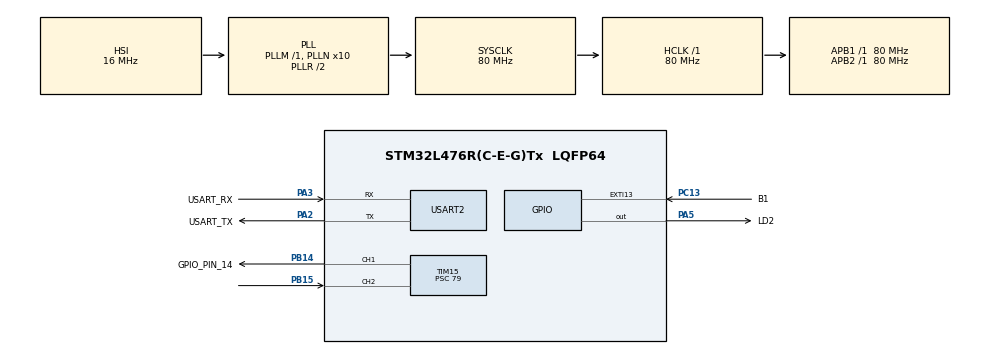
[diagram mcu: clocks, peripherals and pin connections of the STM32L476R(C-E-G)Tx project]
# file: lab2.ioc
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Mcu.Family=STM32L4
Mcu.Name=STM32L476R(C-E-G)Tx
Mcu.Package=LQFP64
NVIC.EXTI15_10_IRQn=true\:0\:0\:false\:false\:true\:true\:true\:true
NVIC.PriorityGroup=NVIC_PRIORITYGROUP_4
NVIC.TIM1_BRK_TIM15_IRQn=true\:0\:0\:false\:false\:true\:true\:true\:true
NVIC.TIM2_IRQn=true\:0\:0\:false\:false\:true\:true\:true\:true
NVIC.TIM5_IRQn=true\:0\:0\:false\:false\:true\:true\:true\:true
NVIC.TIM6_DAC_IRQn=true\:0\:0\:false\:false\:true\:true\:true\:true
NVIC.TIM7_IRQn=true\:0\:0\:false\:false\:true\:true\:true\:true
PA13\ (JTMS-SWDIO).GPIO_Label=TMS
PA13\ (JTMS-SWDIO).Mode=Serial_Wire
PA13\ (JTMS-SWDIO).Signal=SYS_JTMS-SWDIO
PA14\ (JTCK-SWCLK).GPIO_Label=TCK
PA14\ (JTCK-SWCLK).Mode=Serial_Wire
PA14\ (JTCK-SWCLK).Signal=SYS_JTCK-SWCLK
PA2.GPIO_Label=USART_TX
PA2.GPIO_Mode=GPIO_MODE_AF_PP
PA2.GPIO_PuPd=GPIO_NOPULL
PA2.GPIO_Speed=GPIO_SPEED_FREQ_VERY_HIGH
PA2.Mode=Asynchronous
PA2.Signal=USART2_TX
PA3.GPIO_Label=USART_RX
PA3.GPIO_Mode=GPIO_MODE_AF_PP
PA3.GPIO_PuPd=GPIO_NOPULL
PA3.GPIO_Speed=GPIO_SPEED_FREQ_VERY_HIGH
PA3.Mode=Asynchronous
PA3.Signal=USART2_RX
PA5.GPIO_Label=LD2
PA5.Signal=GPIO_Output
PB14.GPIO_Label=GPIO_PIN_14
PB14.Signal=S_TIM15_CH1
PB15.Signal=S_TIM15_CH2
PB3\ (JTDO-TRACESWO).GPIO_Label=SWO
PB3\ (JTDO-TRACESWO).Signal=SYS_JTDO-SWO
PC13.GPIO_Label=B1
PC13.GPIO_ModeDefaultEXTI=GPIO_MODE_IT_FALLING
PC13.GPIO_PuPd=GPIO_NOPULL
PC13.Signal=GPXTI13
PC14-OSC32_IN\ (PC14).Mode=LSE-External-Oscillator
PC14-OSC32_IN\ (PC14).Signal=RCC_OSC32_IN
PC15-OSC32_OUT\ (PC15).Mode=LSE-External-Oscillator
PC15-OSC32_OUT\ (PC15).Signal=RCC_OSC32_OUT
PH0-OSC_IN\ (PH0).Signal=RCC_OSC_IN
PH1-OSC_OUT\ (PH1).Signal=RCC_OSC_OUT
ProjectManager.HeapSize=0x200
ProjectManager.StackSize=0x400
ProjectManager.TargetToolchain=STM32CubeIDE
RCC.ADCFreq_Value=64000000
RCC.AHBFreq_Value=80000000
RCC.APB1Freq_Value=80000000
RCC.APB1TimFreq_Value=80000000
RCC.APB2Freq_Value=80000000
RCC.APB2TimFreq_Value=80000000
RCC.CortexFreq_Value=80000000
RCC.HCLKFreq_Value=80000000
RCC.HSE_VALUE=8000000
RCC.HSI_VALUE=16000000
RCC.MSI_VALUE=4000000
RCC.PLLN=10
RCC.PLLSourceVirtual=RCC_PLLSOURCE_HSI
RCC.PREFETCH_ENABLE=1
RCC.SYSCLKFreq_VALUE=80000000
RCC.SYSCLKSource=RCC_SYSCLKSOURCE_PLLCLK
RCC.USBFreq_Value=64000000
RCC.VCOOutputFreq_Value=160000000
SH.S_TIM15_CH1.0=TIM15_CH1,Output Compare1 CH1
SH.S_TIM15_CH2.0=TIM15_CH2,TriggerSource_TI2FP2
TIM15.Channel-Output\ Compare1\ CH1=TIM_CHANNEL_1
TIM15.Period=332
TIM15.Prescaler=79
TIM15.Pulse-Output\ Compare1\ CH1=0
TIM15.RepetitionCounter=59
TIM2.AutoReloadPreload=TIM_AUTORELOAD_PRELOAD_DISABLE
TIM2.Period=999
TIM2.Prescaler=79
TIM5.Prescaler=79
TIM6.AutoReloadPreload=TIM_AUTORELOAD_PRELOAD_DISABLE
TIM6.Period=799
TIM6.Prescaler=7999
TIM7.AutoReloadPreload=TIM_AUTORELOAD_PRELOAD_DISABLE
TIM7.Period=4999
TIM7.Prescaler=79
USART2.VirtualMode-Asynchronous=VM_ASYNC
VP_TIM15_VS_ControllerModeTrigger.Mode=Trigger Mode
VP_TIM15_VS_OPM.Mode=OPM_bit
VP_TIM2_VS_ClockSourceINT.Mode=Internal
VP_TIM5_VS_ClockSourceINT.Mode=Internal
VP_TIM6_VS_ClockSourceINT.Mode=Enable_Timer
VP_TIM7_VS_ClockSourceINT.Mode=Enable_Timer
board=NUCLEO-L476RG

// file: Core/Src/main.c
/* USER CODE BEGIN Header */
/**
  ******************************************************************************
  * @file : main.c
  * @brief : Main program body
  ******************************************************************************
  * @attention
  *
  * Copyright (c) 2025 STMicroelectronics.
  * All rights reserved.
  *
  * This software is licensed under terms that can be found in the LICENSE file
  * in the root directory of this software component.
  * If no LICENSE file comes with this software, it is provided AS-IS.
  *
  ******************************************************************************
  */
/* USER CODE END Header */
#include "main.h"
#include <math.h> // Required for the cos() function
#include <stdbool.h> // Required for the bool type

/* USER CODE BEGIN Includes */
#define M_PI 3.14159265358979323846

/* USER CODE END Includes */

/* USER CODE BEGIN PTD */

/* USER CODE BEGIN PM */
uint32_t previousT = 0; // last time of button press from TIM5
float BPM = 60.0f; // beats per minute, initialized to 60 BPM
float STEP = 2 * M_PI / 128.0f; // breathing function phase accumulator step
float phase = 0.0f; // current breathing function phase
bool blip = false; //flag for LED blip
int blipCount = 0; //counter for LED blip

/* USER CODE END PM */

/* USER CODE END PTD */

TIM_HandleTypeDef htim2;
TIM_HandleTypeDef htim5;
TIM_HandleTypeDef htim6;
TIM_HandleTypeDef htim7;
TIM_HandleTypeDef htim15;
UART_HandleTypeDef huart2;

void SystemClock_Config(void);
static void MX_GPIO_Init(void);
static void MX_USART2_UART_Init(void);
static void MX_TIM2_Init(void);
static void MX_TIM6_Init(void);
static void MX_TIM7_Init(void);
static void MX_TIM15_Init(void);
static void MX_TIM5_Init(void);

int main(void)
{

  /* MCU Configuration--------------------------------------------------------*/

  /* Reset of all peripherals, Initializes the Flash interface and the Systick. */

  HAL_Init();

  /* Configure the system clock */

  SystemClock_Config();

  /* Initialize all configured peripherals */

  MX_GPIO_Init();
  MX_USART2_UART_Init();
  MX_TIM2_Init();
  MX_TIM6_Init();
  MX_TIM7_Init();
  MX_TIM15_Init();
  MX_TIM5_Init();

  /* USER CODE BEGIN 2 */
  HAL_TIM_Base_Start(&htim5); //TIM5 initialize as counter
  HAL_TIM_Base_Start_IT(&htim6); //TIM6 initialize as beat scheduler
  HAL_TIM_Base_Start_IT(&htim7); //TIM7 initialize for breathing
  HAL_TIM_PWM_Start(&htim2, TIM_CHANNEL_1); //TIM2 initialize for LED PWM output

  /* USER CODE END 2 */

  /* Infinite loop */
  while (1)
  {

  }
}

/* USER CODE BEGIN 4 */

void HAL_GPIO_EXTI_Callback(uint16_t GPIO_Pin) //GPIO interrupt handler for B1
{
  if(GPIO_Pin == B1_Pin) //B1 interrupt for BPM update

  {
    TIM2->CCR1 = TIM2->ARR;
    uint32_t currentT = TIM5->CNT; //current button press from TIM5
    uint32_t timeChange = currentT - previousT; //time since the last press
    previousT = currentT; //save current press as previous for next calculation
    BPM = 60000000.0f / (float)timeChange; //update BPM
    HAL_TIM_Base_Stop_IT(&htim6); //stop TIM6
    TIM6->ARR = (uint32_t)((60000.0f / BPM) * 10.0f) - 1; //update TIM6 period for new BPM
    TIM6->CNT = 0; //reset the TIM6 counter
    HAL_TIM_Base_Start_IT(&htim6); //restart the timer

  }

}

void HAL_TIM_PeriodElapsedCallback(TIM_HandleTypeDef *htim) //timer interrupt handler for TIM6 and TIM7
{
  if (htim->Instance == TIM7) //TIM7 interrupt for breathing LED and updating blip
  {
    if(blip && blipCount < 7)//if blip active and blip count less than 7
    {
      blipCount++;
      TIM2->CCR1 = 0.8f * TIM2->ARR;//LED duty cycle for 80% for blips
        if(blipCount == 5) //if blip count reaches 5 turn off the buzzer PWM
        {
          HAL_TIM_PWM_Stop(&htim15, TIM_CHANNEL_1);
        }
     }
     else //if not blip normal breathing pattern
     {
       blip = false; //reset blip flag
       blipCount = 0; //reset blip counter
       TIM2->CCR1 = (0.5f - 0.5f * cos(phase)) * TIM2->ARR; //use cosine wave to calculate CCR1 for the breathing
     }
     phase += STEP; //update phase for breathing wrapping around at 2*pi
     if(phase > 2 * M_PI)
     {
       phase -= 2 * M_PI;
     }
  }
  if (htim->Instance == TIM6) //TIM6 interrupt beat trigger
  {
    HAL_TIM_PWM_Start(&htim15, TIM_CHANNEL_1); //TIM15 one-pulse beep
    blip = true; //start blip
  }

}

/* USER CODE END 4 */
void SystemClock_Config(void)
{
  RCC_OscInitTypeDef RCC_OscInitStruct = {0};
  RCC_ClkInitTypeDef RCC_ClkInitStruct = {0};
  /** Configure the main internal regulator output voltage
  */

  if (HAL_PWREx_ControlVoltageScaling(PWR_REGULATOR_VOLTAGE_SCALE1) != HAL_OK)
  {
    Error_Handler();
  }

  /** Initializes the RCC Oscillators according to the specified parameters
  * in the RCC_OscInitTypeDef structure.
  */

  RCC_OscInitStruct.OscillatorType = RCC_OSCILLATORTYPE_HSI;
  RCC_OscInitStruct.HSIState = RCC_HSI_ON;
  RCC_OscInitStruct.HSICalibrationValue = RCC_HSICALIBRATION_DEFAULT;
  RCC_OscInitStruct.PLL.PLLState = RCC_PLL_ON;
  RCC_OscInitStruct.PLL.PLLSource = RCC_PLLSOURCE_HSI;
  RCC_OscInitStruct.PLL.PLLM = 1;
  RCC_OscInitStruct.PLL.PLLN = 10;
  RCC_OscInitStruct.PLL.PLLP = RCC_PLLP_DIV7;
  RCC_OscInitStruct.PLL.PLLQ = RCC_PLLQ_DIV2;
  RCC_OscInitStruct.PLL.PLLR = RCC_PLLR_DIV2;

  if (HAL_RCC_OscConfig(&RCC_OscInitStruct) != HAL_OK)
  {
    Error_Handler();
  }

  /** Initializes the CPU, AHB and APB buses clocks
  */

  RCC_ClkInitStruct.ClockType = RCC_CLOCKTYPE_HCLK|RCC_CLOCKTYPE_SYSCLK
  |RCC_CLOCKTYPE_PCLK1|RCC_CLOCKTYPE_PCLK2;
  RCC_ClkInitStruct.SYSCLKSource = RCC_SYSCLKSOURCE_PLLCLK;
  RCC_ClkInitStruct.AHBCLKDivider = RCC_SYSCLK_DIV1;
  RCC_ClkInitStruct.APB1CLKDivider = RCC_HCLK_DIV1;
  RCC_ClkInitStruct.APB2CLKDivider = RCC_HCLK_DIV1;
  if (HAL_RCC_ClockConfig(&RCC_ClkInitStruct, FLASH_LATENCY_4) != HAL_OK)
  {
    Error_Handler();
  }
}

static void MX_TIM2_Init(void)
{

  TIM_ClockConfigTypeDef sClockSourceConfig = {0};
  TIM_MasterConfigTypeDef sMasterConfig = {0};
  TIM_OC_InitTypeDef sConfigOC = {0};

  htim2.Instance = TIM2;
  htim2.Init.Prescaler = 79;
  htim2.Init.CounterMode = TIM_COUNTERMODE_UP;
  htim2.Init.Period = 999;
  htim2.Init.ClockDivision = TIM_CLOCKDIVISION_DIV1;
  htim2.Init.AutoReloadPreload = TIM_AUTORELOAD_PRELOAD_DISABLE;

  if (HAL_TIM_Base_Init(&htim2) != HAL_OK)
  {
    Error_Handler();
  }

  sClockSourceConfig.ClockSource = TIM_CLOCKSOURCE_INTERNAL;

  if (HAL_TIM_ConfigClockSource(&htim2, &sClockSourceConfig) != HAL_OK)
  {
    Error_Handler();
  }

  if (HAL_TIM_PWM_Init(&htim2) != HAL_OK)
  {
    Error_Handler();
  }

  sMasterConfig.MasterOutputTrigger = TIM_TRGO_RESET;
  sMasterConfig.MasterSlaveMode = TIM_MASTERSLAVEMODE_DISABLE;

  if (HAL_TIMEx_MasterConfigSynchronization(&htim2, &sMasterConfig) != HAL_OK)
  {
    Error_Handler();
  }

  sConfigOC.OCMode = TIM_OCMODE_PWM1;
  sConfigOC.Pulse = 0;
  sConfigOC.OCPolarity = TIM_OCPOLARITY_HIGH;
  sConfigOC.OCFastMode = TIM_OCFAST_DISABLE;

  if (HAL_TIM_PWM_ConfigChannel(&htim2, &sConfigOC, TIM_CHANNEL_1) != HAL_OK)
  {
    Error_Handler();
  }

  HAL_TIM_MspPostInit(&htim2);
}

static void MX_TIM5_Init(void)
{

  TIM_ClockConfigTypeDef sClockSourceConfig = {0};
  TIM_MasterConfigTypeDef sMasterConfig = {0};

  htim5.Instance = TIM5;
  htim5.Init.Prescaler = 79;
  htim5.Init.CounterMode = TIM_COUNTERMODE_UP;
  htim5.Init.Period = 4294967295;
  htim5.Init.ClockDivision = TIM_CLOCKDIVISION_DIV1;
  htim5.Init.AutoReloadPreload = TIM_AUTORELOAD_PRELOAD_DISABLE;

  if (HAL_TIM_Base_Init(&htim5) != HAL_OK)
  {
    Error_Handler();
  }

 sClockSourceConfig.ClockSource = TIM_CLOCKSOURCE_INTERNAL;

  if (HAL_TIM_ConfigClockSource(&htim5, &sClockSourceConfig) != HAL_OK)
  {
    Error_Handler();
  }

  sMasterConfig.MasterOutputTrigger = TIM_TRGO_RESET;
  sMasterConfig.MasterSlaveMode = TIM_MASTERSLAVEMODE_DISABLE;

  if (HAL_TIMEx_MasterConfigSynchronization(&htim5, &sMasterConfig) != HAL_OK)
  {
    Error_Handler();
  }

}

static void MX_TIM6_Init(void)
{

  TIM_MasterConfigTypeDef sMasterConfig = {0};

  htim6.Instance = TIM6;
  htim6.Init.Prescaler = 7999;
  htim6.Init.CounterMode = TIM_COUNTERMODE_UP;
  htim6.Init.Period = 9999;
  htim6.Init.AutoReloadPreload = TIM_AUTORELOAD_PRELOAD_DISABLE;

  if (HAL_TIM_Base_Init(&htim6) != HAL_OK)
  {
    Error_Handler();
  }

  sMasterConfig.MasterOutputTrigger = TIM_TRGO_UPDATE;
  sMasterConfig.MasterSlaveMode = TIM_MASTERSLAVEMODE_DISABLE;

  if (HAL_TIMEx_MasterConfigSynchronization(&htim6, &sMasterConfig) != HAL_OK)
  {
    Error_Handler();
  }

}

static void MX_TIM7_Init(void)
{

  TIM_MasterConfigTypeDef sMasterConfig = {0};

  htim7.Instance = TIM7;
  htim7.Init.Prescaler = 79;
  htim7.Init.CounterMode = TIM_COUNTERMODE_UP;
  htim7.Init.Period = 4999;
  htim7.Init.AutoReloadPreload = TIM_AUTORELOAD_PRELOAD_DISABLE;

  if (HAL_TIM_Base_Init(&htim7) != HAL_OK)
  {
    Error_Handler();
  }

  sMasterConfig.MasterOutputTrigger = TIM_TRGO_RESET;
  sMasterConfig.MasterSlaveMode = TIM_MASTERSLAVEMODE_DISABLE;

  if (HAL_TIMEx_MasterConfigSynchronization(&htim7, &sMasterConfig) != HAL_OK)
  {
    Error_Handler();
  }

}

static void MX_TIM15_Init(void)
{

  TIM_ClockConfigTypeDef sClockSourceConfig = {0};
  TIM_SlaveConfigTypeDef sSlaveConfig = {0};
  TIM_MasterConfigTypeDef sMasterConfig = {0};
  TIM_OC_InitTypeDef sConfigOC = {0};
  TIM_BreakDeadTimeConfigTypeDef sBreakDeadTimeConfig = {0};

  htim15.Instance = TIM15;
  htim15.Init.Prescaler = 79;
  htim15.Init.CounterMode = TIM_COUNTERMODE_UP;
  htim15.Init.Period = 332;
  htim15.Init.ClockDivision = TIM_CLOCKDIVISION_DIV1;
  htim15.Init.RepetitionCounter = 59;
  htim15.Init.AutoReloadPreload = TIM_AUTORELOAD_PRELOAD_DISABLE;

  if (HAL_TIM_Base_Init(&htim15) != HAL_OK)
  {
    Error_Handler();
  }

  sClockSourceConfig.ClockSource = TIM_CLOCKSOURCE_INTERNAL;

  if (HAL_TIM_ConfigClockSource(&htim15, &sClockSourceConfig) != HAL_OK)
  {
    Error_Handler();
  }

  if (HAL_TIM_OC_Init(&htim15) != HAL_OK)
  {
    Error_Handler();
  }

  if (HAL_TIM_OnePulse_Init(&htim15, TIM_OPMODE_SINGLE) != HAL_OK)
  {
    Error_Handler();
  }

  sSlaveConfig.SlaveMode = TIM_SLAVEMODE_TRIGGER;
  sSlaveConfig.InputTrigger = TIM_TS_TI2FP2;
  sSlaveConfig.TriggerPolarity = TIM_TRIGGERPOLARITY_RISING;
  sSlaveConfig.TriggerFilter = 0;

  if (HAL_TIM_SlaveConfigSynchro(&htim15, &sSlaveConfig) != HAL_OK)
  {
    Error_Handler();
  }

  sMasterConfig.MasterOutputTrigger = TIM_TRGO_RESET;
  sMasterConfig.MasterSlaveMode = TIM_MASTERSLAVEMODE_DISABLE;

  if (HAL_TIMEx_MasterConfigSynchronization(&htim15, &sMasterConfig) != HAL_OK)
  {
    Error_Handler();
  }

  sConfigOC.OCMode = TIM_OCMODE_PWM1;
  sConfigOC.Pulse = 166;
  sConfigOC.OCPolarity = TIM_OCPOLARITY_HIGH;
  sConfigOC.OCNPolarity = TIM_OCNPOLARITY_HIGH;
  sConfigOC.OCFastMode = TIM_OCFAST_DISABLE;
  sConfigOC.OCIdleState = TIM_OCIDLESTATE_RESET;
  sConfigOC.OCNIdleState = TIM_OCNIDLESTATE_RESET;

  if (HAL_TIM_OC_ConfigChannel(&htim15, &sConfigOC, TIM_CHANNEL_1) != HAL_OK)
  {
    Error_Handler();
  }

  sBreakDeadTimeConfig.OffStateRunMode = TIM_OSSR_DISABLE;
  sBreakDeadTimeConfig.OffStateIDLEMode = TIM_OSSI_DISABLE;
  sBreakDeadTimeConfig.LockLevel = TIM_LOCKLEVEL_OFF;
  sBreakDeadTimeConfig.DeadTime = 0;
  sBreakDeadTimeConfig.BreakState = TIM_BREAK_DISABLE;
  sBreakDeadTimeConfig.BreakPolarity = TIM_BREAKPOLARITY_HIGH;
  sBreakDeadTimeConfig.AutomaticOutput = TIM_AUTOMATICOUTPUT_DISABLE;

  if (HAL_TIMEx_ConfigBreakDeadTime(&htim15, &sBreakDeadTimeConfig) != HAL_OK)
  {
    Error_Handler();
  }

  HAL_TIM_MspPostInit(&htim15);
}

static void MX_USART2_UART_Init(void)
{

  huart2.Instance = USART2;
  huart2.Init.BaudRate = 115200;
  huart2.Init.WordLength = UART_WORDLENGTH_8B;
  huart2.Init.StopBits = UART_STOPBITS_1;
  huart2.Init.Parity = UART_PARITY_NONE;
  huart2.Init.Mode = UART_MODE_TX_RX;
  huart2.Init.HwFlowCtl = UART_HWCONTROL_NONE;
  huart2.Init.OverSampling = UART_OVERSAMPLING_16;
  huart2.Init.OneBitSampling = UART_ONE_BIT_SAMPLE_DISABLE;
  huart2.AdvancedInit.AdvFeatureInit = UART_ADVFEATURE_NO_INIT;

  if (HAL_UART_Init(&huart2) != HAL_OK)
  {
    Error_Handler();
  }

}

static void MX_GPIO_Init(void)
{
  GPIO_InitTypeDef GPIO_InitStruct = {0};

  /* GPIO Ports Clock Enable */
  __HAL_RCC_GPIOC_CLK_ENABLE();
  __HAL_RCC_GPIOH_CLK_ENABLE();
  __HAL_RCC_GPIOA_CLK_ENABLE();
  __HAL_RCC_GPIOB_CLK_ENABLE();

  /*Configure GPIO pin Output Level */
  HAL_GPIO_WritePin(LD2_GPIO_Port, LD2_Pin, GPIO_PIN_RESET);

  /*Configure GPIO pin : B1_Pin */
  GPIO_InitStruct.Pin = B1_Pin;
  GPIO_InitStruct.Mode = GPIO_MODE_IT_FALLING;
  GPIO_InitStruct.Pull = GPIO_NOPULL;
  HAL_GPIO_Init(B1_GPIO_Port, &GPIO_InitStruct);

  /*Configure GPIO pin : LD2_Pin */

  /*GPIO_InitStruct.Pin = LD2_Pin;
  GPIO_InitStruct.Mode = GPIO_MODE_OUTPUT_PP;
  GPIO_InitStruct.Pull = GPIO_NOPULL;
  GPIO_InitStruct.Speed = GPIO_SPEED_FREQ_LOW;
  HAL_GPIO_Init(LD2_GPIO_Port, &GPIO_InitStruct);*/

  /*Configure GPIO pin : PA5 */

  GPIO_InitStruct.Pin = LD2_Pin;
  GPIO_InitStruct.Mode = GPIO_MODE_AF_PP;
  GPIO_InitStruct.Pull = GPIO_NOPULL;
  GPIO_InitStruct.Speed = GPIO_SPEED_FREQ_LOW;
  GPIO_InitStruct.Alternate = GPIO_AF1_TIM2;
  HAL_GPIO_Init(GPIOA, &GPIO_InitStruct);

  /* EXTI interrupt init*/
  HAL_NVIC_SetPriority(EXTI15_10_IRQn, 0, 0);
  HAL_NVIC_EnableIRQ(EXTI15_10_IRQn);

}

void Error_Handler(void)
{
  __disable_irq();
  while (1)
  {
  }
}
